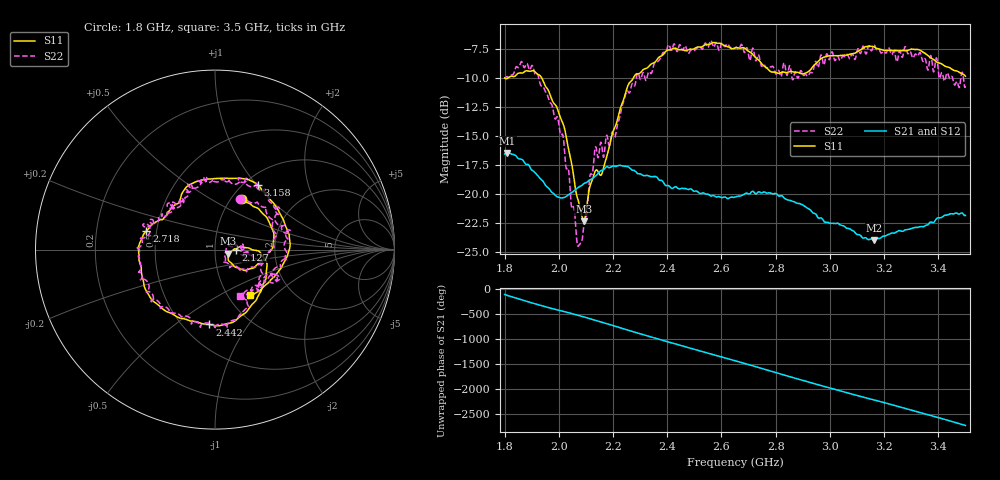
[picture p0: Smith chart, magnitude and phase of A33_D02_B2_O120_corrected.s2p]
! Created with skrf 1.9.0 (http://scikit-rf.org).
# Hz S RI R 50.0
!freq ReS11 ImS11 ReS21 ImS21 ReS12 ImS12 ReS22 ImS22
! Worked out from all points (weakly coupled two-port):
!   1601 points, 1.8 GHz to 3.5 GHz, reference 50 ohm
!   highest |S21| = -16.47 dB at 1.81 GHz (marker M1); lowest = -24.0 dB at 3.163 GHz (marker M2)
!   lowest |S11| = -22.4 dB at 2.092 GHz (marker M3), VSWR 1.17, Z = 57.8 - j2.66 ohm
!   |S11| at or under -10 dB: start of sweep to 1.813 GHz; 1.937 GHz to 2.275 GHz (338.1 MHz wide, 16.1 % of centre)
!   |S22| runs from -24.5 to -6.8 dB; largest |S21 - S12| = 0.0025
!   S11 on the Smith chart (normalised r, x): 1.8 GHz: 1.12, +0.69; 2.127 GHz: 1.27, -0.00; 2.442 GHz: 0.67, -0.67; 2.718 GHz: 0.44, +0.11; 3.158 GHz: 1.14, +1.01; 3.5 GHz: 1.26, -0.72
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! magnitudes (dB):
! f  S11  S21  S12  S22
! 1.8 GHz  -10.0  -16.6  -16.5  -10.0
! 1.81 GHz  -10.1  -16.5  -16.5  -9.9
! 1.882 GHz  -9.4  -17.4  -17.5  -8.8
! 1.952 GHz  -10.8  -19.3  -19.2  -11.2
! 2.019 GHz  -14.2  -20.3  -20.3  -15.6
! 2.069 GHz  -20.3  -19.5  -19.5  -24.4
! 2.084 GHz  -21.8  -19.3  -19.2  -24.1
! 2.092 GHz  -22.4  -19.1  -19.2  -22.7
! 2.127 GHz  -18.5  -18.6  -18.6  -17.6
! 2.161 GHz  -18.1  -17.9  -17.9  -16.4
! 2.209 GHz  -14.1  -17.6  -17.6  -15.0
! 2.259 GHz  -10.5  -17.7  -17.7  -11.3
! 2.367 GHz  -8.3  -18.7  -18.7  -8.5
! 2.442 GHz  -7.6  -19.5  -19.5  -7.4
! 2.65 GHz  -7.4  -20.3  -20.2  -7.4
! 2.718 GHz  -8.1  -19.8  -19.7  -7.5
! 2.788 GHz  -9.5  -20.0  -20.0  -9.0
! 2.934 GHz  -9.1  -21.5  -21.5  -9.6
! 3.158 GHz  -7.3  -23.9  -23.9  -7.4
! 3.163 GHz  -7.3  -24.0  -24.0  -7.2
! 3.217 GHz  -7.6  -23.5  -23.5  -7.4
! 3.5 GHz  -9.8  -21.9  -21.8  -10.7
